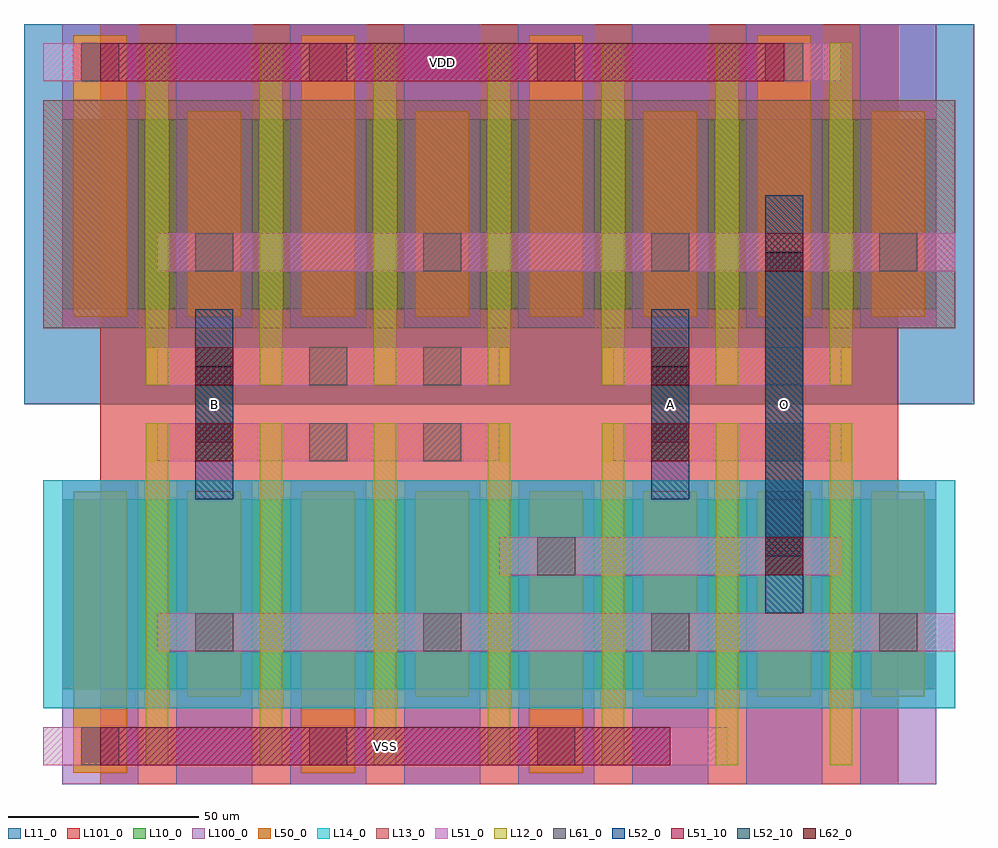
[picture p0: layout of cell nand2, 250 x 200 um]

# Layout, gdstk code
import gdstk
lib = gdstk.Library(unit=1e-6, precision=1e-09)
def R(c, l, rs):  # rectangles x0, y0, x1, y1
    for r in rs: c.add(gdstk.rectangle(r[:2], r[2:], *l))
def A(c, l, x, y, w, h, nx, ny, dx, dy):  # array of equal rectangles
    R(c, l, [(x+i*dx, y+j*dy, x+i*dx+w, y+j*dy+h) for i in range(nx) for j in range(ny)])
L10_0 = (10, 0)
L11_0 = (11, 0)
L12_0 = (12, 0)
L13_0 = (13, 0)
L14_0 = (14, 0)
L50_0 = (50, 0)
L51_0 = (51, 0)
L51_10 = (51, 10)
L52_0 = (52, 0)
L52_10 = (52, 10)
L61_0 = (61, 0)
L62_0 = (62, 0)
L100_0 = (100, 0)
L101_0 = (101, 0)

nand2_virtualinst_mn0 = lib.new_cell('nand2_VirtualInst_MN0')
A(nand2_virtualinst_mn0, L10_0, -10, 25, 50, 50, 4, 1, 30, 0)
A(nand2_virtualinst_mn0, L12_0, 12, 5, 6, 90, 4, 1, 30, 0)
A(nand2_virtualinst_mn0, L14_0, -15, 20, 60, 60, 4, 1, 30, 0)
A(nand2_virtualinst_mn0, L50_0, 12, 85, 36, 10, 3, 1, 30, 0)
R(nand2_virtualinst_mn0, L50_0, [(-7,23,7,77), (23,23,37,77), (23,23,37,77), (53,23,67,77), (53,23,67,77), (83,23,97,77), (83,23,97,77), (113,23,127,77)])
A(nand2_virtualinst_mn0, L100_0, -10, 0, 20, 80, 5, 1, 30, 0)
R(nand2_virtualinst_mn0, L100_0, [(12,85,108,95)])
A(nand2_virtualinst_mn0, L101_0, 0, 0, 30, 100, 4, 1, 30, 0)
nand2_virtualinst_mn0.add(gdstk.Label('S', (0,40), layer=100, texttype=0))
nand2_virtualinst_mn0.add(gdstk.Label('S', (60,40), layer=100, texttype=0))
nand2_virtualinst_mn0.add(gdstk.Label('S', (120,40), layer=100, texttype=0))
nand2_virtualinst_mn0.add(gdstk.Label('D', (30,40), layer=100, texttype=0))
nand2_virtualinst_mn0.add(gdstk.Label('D', (90,40), layer=100, texttype=0))
nand2_virtualinst_mn0.add(gdstk.Label('G', (60,90), layer=100, texttype=0))

nand2_virtualinst_mn1 = lib.new_cell('nand2_VirtualInst_MN1')
A(nand2_virtualinst_mn1, L10_0, -10, 25, 50, 50, 3, 1, 30, 0)
A(nand2_virtualinst_mn1, L12_0, 12, 5, 6, 90, 3, 1, 30, 0)
A(nand2_virtualinst_mn1, L14_0, -15, 20, 60, 60, 3, 1, 30, 0)
R(nand2_virtualinst_mn1, L50_0, [(-7,23,7,77), (23,23,37,77), (23,23,37,77), (53,23,67,77), (53,23,67,77), (83,23,97,77), (12,85,48,95), (42,85,78,95)])
A(nand2_virtualinst_mn1, L100_0, -10, 0, 20, 80, 4, 1, 30, 0)
R(nand2_virtualinst_mn1, L100_0, [(12,85,78,95)])
A(nand2_virtualinst_mn1, L101_0, 0, 0, 30, 100, 3, 1, 30, 0)
nand2_virtualinst_mn1.add(gdstk.Label('D', (0,40), layer=100, texttype=0))
nand2_virtualinst_mn1.add(gdstk.Label('D', (60,40), layer=100, texttype=0))
nand2_virtualinst_mn1.add(gdstk.Label('S', (30,40), layer=100, texttype=0))
nand2_virtualinst_mn1.add(gdstk.Label('S', (90,40), layer=100, texttype=0))
nand2_virtualinst_mn1.add(gdstk.Label('G', (45,90), layer=100, texttype=0))

nand2_virtualinst_mp0 = lib.new_cell('nand2_VirtualInst_MP0')
A(nand2_virtualinst_mp0, L10_0, -10, 25, 50, 50, 4, 1, 30, 0)
A(nand2_virtualinst_mp0, L11_0, -20, 0, 70, 100, 4, 1, 30, 0)
A(nand2_virtualinst_mp0, L12_0, 12, 5, 6, 90, 4, 1, 30, 0)
A(nand2_virtualinst_mp0, L13_0, -15, 20, 60, 60, 4, 1, 30, 0)
A(nand2_virtualinst_mp0, L50_0, 12, 85, 36, 10, 3, 1, 30, 0)
R(nand2_virtualinst_mp0, L50_0, [(-7,23,7,77), (23,23,37,77), (23,23,37,77), (53,23,67,77), (53,23,67,77), (83,23,97,77), (83,23,97,77), (113,23,127,77)])
A(nand2_virtualinst_mp0, L100_0, -10, 0, 20, 80, 5, 1, 30, 0)
R(nand2_virtualinst_mp0, L100_0, [(12,85,108,95)])
A(nand2_virtualinst_mp0, L101_0, 0, 0, 30, 100, 4, 1, 30, 0)
nand2_virtualinst_mp0.add(gdstk.Label('S', (0,40), layer=100, texttype=0))
nand2_virtualinst_mp0.add(gdstk.Label('S', (60,40), layer=100, texttype=0))
nand2_virtualinst_mp0.add(gdstk.Label('S', (120,40), layer=100, texttype=0))
nand2_virtualinst_mp0.add(gdstk.Label('D', (30,40), layer=100, texttype=0))
nand2_virtualinst_mp0.add(gdstk.Label('D', (90,40), layer=100, texttype=0))
nand2_virtualinst_mp0.add(gdstk.Label('G', (60,90), layer=100, texttype=0))

nand2_virtualinst_mp1 = lib.new_cell('nand2_VirtualInst_MP1')
A(nand2_virtualinst_mp1, L10_0, -10, 25, 50, 50, 3, 1, 30, 0)
A(nand2_virtualinst_mp1, L11_0, -20, 0, 70, 100, 3, 1, 30, 0)
A(nand2_virtualinst_mp1, L12_0, 12, 5, 6, 90, 3, 1, 30, 0)
A(nand2_virtualinst_mp1, L13_0, -15, 20, 60, 60, 3, 1, 30, 0)
R(nand2_virtualinst_mp1, L50_0, [(-7,23,7,77), (23,23,37,77), (23,23,37,77), (53,23,67,77), (53,23,67,77), (83,23,97,77), (12,85,48,95), (42,85,78,95)])
A(nand2_virtualinst_mp1, L100_0, -10, 0, 20, 80, 4, 1, 30, 0)
R(nand2_virtualinst_mp1, L100_0, [(12,85,78,95)])
A(nand2_virtualinst_mp1, L101_0, 0, 0, 30, 100, 3, 1, 30, 0)
nand2_virtualinst_mp1.add(gdstk.Label('S', (0,40), layer=100, texttype=0))
nand2_virtualinst_mp1.add(gdstk.Label('S', (60,40), layer=100, texttype=0))
nand2_virtualinst_mp1.add(gdstk.Label('D', (30,40), layer=100, texttype=0))
nand2_virtualinst_mp1.add(gdstk.Label('D', (90,40), layer=100, texttype=0))
nand2_virtualinst_mp1.add(gdstk.Label('G', (45,90), layer=100, texttype=0))

nand2_virtualinst_noname = lib.new_cell('nand2_VirtualInst_NoName_1')
R(nand2_virtualinst_noname, L61_0, [(-5,-5,5,5)])

c_nand2_virtualinst_noname = lib.new_cell('nand2_VirtualInst_NoName_2')
R(c_nand2_virtualinst_noname, L61_0, [(-5,-5,5,5)])

c_nand2_virtualinst_noname_ = lib.new_cell('nand2_VirtualInst_NoName_3')
R(c_nand2_virtualinst_noname_, L61_0, [(-5,-5,5,5)])

c_nand2_virtualinst_noname__ = lib.new_cell('nand2_VirtualInst_NoName_4')
R(c_nand2_virtualinst_noname__, L61_0, [(-5,-5,5,5)])

c_nand2_virtualinst_noname___ = lib.new_cell('nand2_VirtualInst_NoName_5')
R(c_nand2_virtualinst_noname___, L61_0, [(-5,-5,5,5)])

c_nand2_virtualinst_noname____ = lib.new_cell('nand2_VirtualInst_NoName_6')
R(c_nand2_virtualinst_noname____, L61_0, [(-5,-5,5,5)])

c_nand2_virtualinst_noname_____ = lib.new_cell('nand2_VirtualInst_NoName_7')
R(c_nand2_virtualinst_noname_____, L61_0, [(-5,-5,5,5)])

c_nand2_virtualinst_noname______ = lib.new_cell('nand2_VirtualInst_NoName_8')
R(c_nand2_virtualinst_noname______, L61_0, [(-5,-5,5,5)])

c_nand2_virtualinst_noname_______ = lib.new_cell('nand2_VirtualInst_NoName_10')
R(c_nand2_virtualinst_noname_______, L61_0, [(-5,-5,5,5)])

c_nand2_virtualinst_noname________ = lib.new_cell('nand2_VirtualInst_NoName_11')
R(c_nand2_virtualinst_noname________, L61_0, [(-5,-5,5,5)])

c_nand2_virtualinst_noname_________ = lib.new_cell('nand2_VirtualInst_NoName_12')
R(c_nand2_virtualinst_noname_________, L61_0, [(-5,-5,5,5)])

c_nand2_virtualinst_noname__________ = lib.new_cell('nand2_VirtualInst_NoName_13')
R(c_nand2_virtualinst_noname__________, L61_0, [(-5,-5,5,5)])

c_nand2_virtualinst_noname___________ = lib.new_cell('nand2_VirtualInst_NoName_14')
R(c_nand2_virtualinst_noname___________, L61_0, [(-5,-5,5,5)])

c_nand2_virtualinst_noname____________ = lib.new_cell('nand2_VirtualInst_NoName_15')
R(c_nand2_virtualinst_noname____________, L61_0, [(-5,-5,5,5)])

c_nand2_virtualinst_noname_____________ = lib.new_cell('nand2_VirtualInst_NoName_16')
R(c_nand2_virtualinst_noname_____________, L61_0, [(-5,-5,5,5)])

c_nand2_virtualinst_noname______________ = lib.new_cell('nand2_VirtualInst_NoName_17')
R(c_nand2_virtualinst_noname______________, L61_0, [(-5,-5,5,5)])

c_nand2_virtualinst_noname_______________ = lib.new_cell('nand2_VirtualInst_NoName_18')
R(c_nand2_virtualinst_noname_______________, L62_0, [(-5,-5,5,5)])

c_nand2_virtualinst_noname________________ = lib.new_cell('nand2_VirtualInst_NoName_20')
R(c_nand2_virtualinst_noname________________, L62_0, [(-5,-5,5,5)])

c_nand2_virtualinst_noname_________________ = lib.new_cell('nand2_VirtualInst_NoName_21')
R(c_nand2_virtualinst_noname_________________, L62_0, [(-5,-5,5,5)])

c_nand2_virtualinst_noname__________________ = lib.new_cell('nand2_VirtualInst_NoName_23')
R(c_nand2_virtualinst_noname__________________, L62_0, [(-5,-5,5,5)])

c_nand2_virtualinst_noname___________________ = lib.new_cell('nand2_VirtualInst_NoName_25')
R(c_nand2_virtualinst_noname___________________, L61_0, [(-5,-5,5,5)])

c_nand2_virtualinst_noname____________________ = lib.new_cell('nand2_VirtualInst_NoName_26')
R(c_nand2_virtualinst_noname____________________, L61_0, [(-5,-5,5,5)])

c_nand2_virtualinst_noname_____________________ = lib.new_cell('nand2_VirtualInst_NoName_27')
R(c_nand2_virtualinst_noname_____________________, L61_0, [(-5,-5,5,5)])

c_nand2_virtualinst_noname______________________ = lib.new_cell('nand2_VirtualInst_NoName_28')
R(c_nand2_virtualinst_noname______________________, L61_0, [(-5,-5,5,5)])

c_nand2_virtualinst_noname_______________________ = lib.new_cell('nand2_VirtualInst_NoName_29')
R(c_nand2_virtualinst_noname_______________________, L61_0, [(-5,-5,5,5)])

c_nand2_virtualinst_noname________________________ = lib.new_cell('nand2_VirtualInst_NoName_30')
R(c_nand2_virtualinst_noname________________________, L61_0, [(-5,-5,5,5)])

c_nand2_virtualinst_noname_________________________ = lib.new_cell('nand2_VirtualInst_NoName_31')
R(c_nand2_virtualinst_noname_________________________, L61_0, [(-5,-5,5,5)])

c_nand2_virtualinst_noname__________________________ = lib.new_cell('nand2_VirtualInst_NoName_32')
R(c_nand2_virtualinst_noname__________________________, L61_0, [(-5,-5,5,5)])

c_nand2_virtualinst_noname___________________________ = lib.new_cell('nand2_VirtualInst_NoName_33')
R(c_nand2_virtualinst_noname___________________________, L61_0, [(-5,-5,5,5)])

c_nand2_virtualinst_noname____________________________ = lib.new_cell('nand2_VirtualInst_NoName_34')
R(c_nand2_virtualinst_noname____________________________, L61_0, [(-5,-5,5,5)])

c_nand2_virtualinst_noname_____________________________ = lib.new_cell('nand2_VirtualInst_NoName_35')
R(c_nand2_virtualinst_noname_____________________________, L61_0, [(-5,-5,5,5)])

c_nand2_virtualinst_noname______________________________ = lib.new_cell('nand2_VirtualInst_NoName_36')
R(c_nand2_virtualinst_noname______________________________, L61_0, [(-5,-5,5,5)])

c_nand2_virtualinst_noname_______________________________ = lib.new_cell('nand2_VirtualInst_NoName_38')
R(c_nand2_virtualinst_noname_______________________________, L61_0, [(-5,-5,5,5)])

c_nand2_virtualinst_noname________________________________ = lib.new_cell('nand2_VirtualInst_NoName_39')
R(c_nand2_virtualinst_noname________________________________, L61_0, [(-5,-5,5,5)])

c_nand2_virtualinst_noname_________________________________ = lib.new_cell('nand2_VirtualInst_NoName_40')
R(c_nand2_virtualinst_noname_________________________________, L61_0, [(-5,-5,5,5)])

c_nand2_virtualinst_noname__________________________________ = lib.new_cell('nand2_VirtualInst_NoName_41')
R(c_nand2_virtualinst_noname__________________________________, L61_0, [(-5,-5,5,5)])

c_nand2_virtualinst_noname___________________________________ = lib.new_cell('nand2_VirtualInst_NoName_42')
R(c_nand2_virtualinst_noname___________________________________, L61_0, [(-5,-5,5,5)])

c_nand2_virtualinst_noname____________________________________ = lib.new_cell('nand2_VirtualInst_NoName_43')
R(c_nand2_virtualinst_noname____________________________________, L61_0, [(-5,-5,5,5)])

c_nand2_virtualinst_noname_____________________________________ = lib.new_cell('nand2_VirtualInst_NoName_44')
R(c_nand2_virtualinst_noname_____________________________________, L61_0, [(-5,-5,5,5)])

c_nand2_virtualinst_noname______________________________________ = lib.new_cell('nand2_VirtualInst_NoName_45')
R(c_nand2_virtualinst_noname______________________________________, L61_0, [(-5,-5,5,5)])

c_nand2_virtualinst_noname_______________________________________ = lib.new_cell('nand2_VirtualInst_NoName_46')
R(c_nand2_virtualinst_noname_______________________________________, L61_0, [(-5,-5,5,5)])

c_nand2_virtualinst_noname________________________________________ = lib.new_cell('nand2_VirtualInst_NoName_47')
R(c_nand2_virtualinst_noname________________________________________, L61_0, [(-5,-5,5,5)])

c_nand2_virtualinst_noname_________________________________________ = lib.new_cell('nand2_VirtualInst_NoName_48')
R(c_nand2_virtualinst_noname_________________________________________, L61_0, [(-5,-5,5,5)])

c_nand2_virtualinst_noname__________________________________________ = lib.new_cell('nand2_VirtualInst_NoName_49')
R(c_nand2_virtualinst_noname__________________________________________, L61_0, [(-5,-5,5,5)])

c_nand2_virtualinst_noname___________________________________________ = lib.new_cell('nand2_VirtualInst_NoName_50')
R(c_nand2_virtualinst_noname___________________________________________, L62_0, [(-5,-5,5,5)])

c_nand2_virtualinst_noname____________________________________________ = lib.new_cell('nand2_VirtualInst_NoName_52')
R(c_nand2_virtualinst_noname____________________________________________, L62_0, [(-5,-5,5,5)])

c_nand2_virtualinst_noname_____________________________________________ = lib.new_cell('nand2_VirtualInst_NoName_53')
R(c_nand2_virtualinst_noname_____________________________________________, L62_0, [(-5,-5,5,5)])

c_nand2_virtualinst_noname______________________________________________ = lib.new_cell('nand2_VirtualInst_NoName_55')
R(c_nand2_virtualinst_noname______________________________________________, L62_0, [(-5,-5,5,5)])

c_nand2_virtualinst_noname_______________________________________________ = lib.new_cell('nand2_VirtualInst_NoName_57')
R(c_nand2_virtualinst_noname_______________________________________________, L61_0, [(-5,-5,5,5)])

c_nand2_virtualinst_noname________________________________________________ = lib.new_cell('nand2_VirtualInst_NoName_58')
R(c_nand2_virtualinst_noname________________________________________________, L61_0, [(-5,-5,5,5)])

c_nand2_virtualinst_noname_________________________________________________ = lib.new_cell('nand2_VirtualInst_NoName_59')
R(c_nand2_virtualinst_noname_________________________________________________, L61_0, [(-5,-5,5,5)])

c_nand2_virtualinst_noname__________________________________________________ = lib.new_cell('nand2_VirtualInst_NoName_60')
R(c_nand2_virtualinst_noname__________________________________________________, L61_0, [(-5,-5,5,5)])

c_nand2_virtualinst_noname___________________________________________________ = lib.new_cell('nand2_VirtualInst_NoName_62')
R(c_nand2_virtualinst_noname___________________________________________________, L61_0, [(-5,-5,5,5)])

c_nand2_virtualinst_noname____________________________________________________ = lib.new_cell('nand2_VirtualInst_NoName_63')
R(c_nand2_virtualinst_noname____________________________________________________, L61_0, [(-5,-5,5,5)])

c_nand2_virtualinst_noname_____________________________________________________ = lib.new_cell('nand2_VirtualInst_NoName_65')
R(c_nand2_virtualinst_noname_____________________________________________________, L61_0, [(-5,-5,5,5)])

c_nand2_virtualinst_noname______________________________________________________ = lib.new_cell('nand2_VirtualInst_NoName_66')
R(c_nand2_virtualinst_noname______________________________________________________, L61_0, [(-5,-5,5,5)])

c_nand2_virtualinst_noname_______________________________________________________ = lib.new_cell('nand2_VirtualInst_NoName_67')
R(c_nand2_virtualinst_noname_______________________________________________________, L61_0, [(-5,-5,5,5)])

c_nand2_virtualinst_noname________________________________________________________ = lib.new_cell('nand2_VirtualInst_NoName_68')
R(c_nand2_virtualinst_noname________________________________________________________, L61_0, [(-5,-5,5,5)])

c_nand2_virtualinst_noname_________________________________________________________ = lib.new_cell('nand2_VirtualInst_NoName_69')
R(c_nand2_virtualinst_noname_________________________________________________________, L62_0, [(-5,-5,5,5)])

c_nand2_virtualinst_noname__________________________________________________________ = lib.new_cell('nand2_VirtualInst_NoName_71')
R(c_nand2_virtualinst_noname__________________________________________________________, L62_0, [(-5,-5,5,5)])

c_nand2_virtualinst_noname___________________________________________________________ = lib.new_cell('nand2_VirtualInst_NoName_72')
R(c_nand2_virtualinst_noname___________________________________________________________, L62_0, [(-5,-5,5,5)])

c_nand2_virtualinst_noname____________________________________________________________ = lib.new_cell('nand2_VirtualInst_NoName_74')
R(c_nand2_virtualinst_noname____________________________________________________________, L62_0, [(-5,-5,5,5)])

c_nand2_virtualinst_noname_____________________________________________________________ = lib.new_cell('nand2_VirtualInst_NoName_76')
R(c_nand2_virtualinst_noname_____________________________________________________________, L50_0, [(-7,-7,7,13)])
R(c_nand2_virtualinst_noname_____________________________________________________________, L61_0, [(-5,-5,5,5)])

c_nand2_virtualinst_noname______________________________________________________________ = lib.new_cell('nand2_VirtualInst_NoName_77')
R(c_nand2_virtualinst_noname______________________________________________________________, L50_0, [(-7,-7,7,13)])
R(c_nand2_virtualinst_noname______________________________________________________________, L61_0, [(-5,-5,5,5)])

c_nand2_virtualinst_noname_______________________________________________________________ = lib.new_cell('nand2_VirtualInst_NoName_78')
R(c_nand2_virtualinst_noname_______________________________________________________________, L50_0, [(-7,-7,7,13)])
R(c_nand2_virtualinst_noname_______________________________________________________________, L61_0, [(-5,-5,5,5)])

c_nand2_virtualinst_noname________________________________________________________________ = lib.new_cell('nand2_VirtualInst_NoName_80')
R(c_nand2_virtualinst_noname________________________________________________________________, L50_0, [(-7,-13,7,7)])
R(c_nand2_virtualinst_noname________________________________________________________________, L61_0, [(-5,-5,5,5)])

c_nand2_virtualinst_noname_________________________________________________________________ = lib.new_cell('nand2_VirtualInst_NoName_81')
R(c_nand2_virtualinst_noname_________________________________________________________________, L50_0, [(-7,-13,7,7)])
R(c_nand2_virtualinst_noname_________________________________________________________________, L61_0, [(-5,-5,5,5)])

c_nand2_virtualinst_noname__________________________________________________________________ = lib.new_cell('nand2_VirtualInst_NoName_82')
R(c_nand2_virtualinst_noname__________________________________________________________________, L50_0, [(-7,-13,7,7)])
R(c_nand2_virtualinst_noname__________________________________________________________________, L61_0, [(-5,-5,5,5)])

c_nand2_virtualinst_noname___________________________________________________________________ = lib.new_cell('nand2_VirtualInst_NoName_83')
R(c_nand2_virtualinst_noname___________________________________________________________________, L50_0, [(-7,-13,7,7)])
R(c_nand2_virtualinst_noname___________________________________________________________________, L61_0, [(-5,-5,5,5)])

c_nand2_virtualinst_noname____________________________________________________________________ = lib.new_cell('nand2_VirtualInst_NoName_84')
R(c_nand2_virtualinst_noname____________________________________________________________________, L50_0, [(-7,-13,7,7)])
R(c_nand2_virtualinst_noname____________________________________________________________________, L61_0, [(-5,-5,5,5)])

nand2 = lib.new_cell('nand2')
R(nand2, L51_0, [(-15,5,165,15), (15,35,225,45), (105,55,195,65), (15,85,105,95), (135,85,195,95), (15,105,105,115), (135,105,195,115), (15,135,225,145), (-15,185,195,195)])
R(nand2, L51_10, [(0,5,150,15), (0,185,180,195)])
R(nand2, L52_0, [(175,45,185,155), (175,45,185,155), (25,75,35,125), (25,75,35,125), (145,75,155,125), (145,75,155,125)])
R(nand2, L52_10, [(175,60,185,140), (25,90,35,110), (145,90,155,110)])
nand2.add(gdstk.Reference(nand2_virtualinst_mn0, (0,0)))
nand2.add(gdstk.Reference(nand2_virtualinst_mn1, (120,0)))
nand2.add(gdstk.Reference(nand2_virtualinst_mp0, (0,200), x_reflection=True))
nand2.add(gdstk.Reference(nand2_virtualinst_mp1, (120,200), x_reflection=True))
nand2.add(gdstk.Reference(nand2_virtualinst_noname, (150,90)))
nand2.add(gdstk.Reference(c_nand2_virtualinst_noname, (180,90)))
nand2.add(gdstk.Reference(c_nand2_virtualinst_noname_, (150,90)))
nand2.add(gdstk.Reference(c_nand2_virtualinst_noname__, (180,90)))
nand2.add(gdstk.Reference(c_nand2_virtualinst_noname___, (150,90)))
nand2.add(gdstk.Reference(c_nand2_virtualinst_noname____, (180,90)))
nand2.add(gdstk.Reference(c_nand2_virtualinst_noname_____, (150,90)))
nand2.add(gdstk.Reference(c_nand2_virtualinst_noname______, (180,90)))
nand2.add(gdstk.Reference(c_nand2_virtualinst_noname_______, (150,110)))
nand2.add(gdstk.Reference(c_nand2_virtualinst_noname________, (180,110)))
nand2.add(gdstk.Reference(c_nand2_virtualinst_noname_________, (150,110)))
nand2.add(gdstk.Reference(c_nand2_virtualinst_noname__________, (180,110)))
nand2.add(gdstk.Reference(c_nand2_virtualinst_noname___________, (150,110)))
nand2.add(gdstk.Reference(c_nand2_virtualinst_noname____________, (180,110)))
nand2.add(gdstk.Reference(c_nand2_virtualinst_noname_____________, (150,110)))
nand2.add(gdstk.Reference(c_nand2_virtualinst_noname______________, (180,110)))
nand2.add(gdstk.Reference(c_nand2_virtualinst_noname_______________, (150,90)))
nand2.add(gdstk.Reference(c_nand2_virtualinst_noname________________, (150,110)))
nand2.add(gdstk.Reference(c_nand2_virtualinst_noname_________________, (150,90)))
nand2.add(gdstk.Reference(c_nand2_virtualinst_noname__________________, (150,110)))
nand2.add(gdstk.Reference(c_nand2_virtualinst_noname___________________, (30,90)))
nand2.add(gdstk.Reference(c_nand2_virtualinst_noname____________________, (60,90)))
nand2.add(gdstk.Reference(c_nand2_virtualinst_noname_____________________, (90,90)))
nand2.add(gdstk.Reference(c_nand2_virtualinst_noname______________________, (30,90)))
nand2.add(gdstk.Reference(c_nand2_virtualinst_noname_______________________, (60,90)))
nand2.add(gdstk.Reference(c_nand2_virtualinst_noname________________________, (90,90)))
nand2.add(gdstk.Reference(c_nand2_virtualinst_noname_________________________, (30,90)))
nand2.add(gdstk.Reference(c_nand2_virtualinst_noname__________________________, (60,90)))
nand2.add(gdstk.Reference(c_nand2_virtualinst_noname___________________________, (90,90)))
nand2.add(gdstk.Reference(c_nand2_virtualinst_noname____________________________, (30,90)))
nand2.add(gdstk.Reference(c_nand2_virtualinst_noname_____________________________, (60,90)))
nand2.add(gdstk.Reference(c_nand2_virtualinst_noname______________________________, (90,90)))
nand2.add(gdstk.Reference(c_nand2_virtualinst_noname_______________________________, (30,110)))
nand2.add(gdstk.Reference(c_nand2_virtualinst_noname________________________________, (60,110)))
nand2.add(gdstk.Reference(c_nand2_virtualinst_noname_________________________________, (90,110)))
nand2.add(gdstk.Reference(c_nand2_virtualinst_noname__________________________________, (30,110)))
nand2.add(gdstk.Reference(c_nand2_virtualinst_noname___________________________________, (60,110)))
nand2.add(gdstk.Reference(c_nand2_virtualinst_noname____________________________________, (90,110)))
nand2.add(gdstk.Reference(c_nand2_virtualinst_noname_____________________________________, (30,110)))
nand2.add(gdstk.Reference(c_nand2_virtualinst_noname______________________________________, (60,110)))
nand2.add(gdstk.Reference(c_nand2_virtualinst_noname_______________________________________, (90,110)))
nand2.add(gdstk.Reference(c_nand2_virtualinst_noname________________________________________, (30,110)))
nand2.add(gdstk.Reference(c_nand2_virtualinst_noname_________________________________________, (60,110)))
nand2.add(gdstk.Reference(c_nand2_virtualinst_noname__________________________________________, (90,110)))
nand2.add(gdstk.Reference(c_nand2_virtualinst_noname___________________________________________, (30,90)))
nand2.add(gdstk.Reference(c_nand2_virtualinst_noname____________________________________________, (30,110)))
nand2.add(gdstk.Reference(c_nand2_virtualinst_noname_____________________________________________, (30,90)))
nand2.add(gdstk.Reference(c_nand2_virtualinst_noname______________________________________________, (30,110)))
nand2.add(gdstk.Reference(c_nand2_virtualinst_noname_______________________________________________, (30,40)))
nand2.add(gdstk.Reference(c_nand2_virtualinst_noname________________________________________________, (90,40)))
nand2.add(gdstk.Reference(c_nand2_virtualinst_noname_________________________________________________, (150,40)))
nand2.add(gdstk.Reference(c_nand2_virtualinst_noname__________________________________________________, (210,40)))
nand2.add(gdstk.Reference(c_nand2_virtualinst_noname___________________________________________________, (120,60)))
nand2.add(gdstk.Reference(c_nand2_virtualinst_noname____________________________________________________, (180,60)))
nand2.add(gdstk.Reference(c_nand2_virtualinst_noname_____________________________________________________, (30,140)))
nand2.add(gdstk.Reference(c_nand2_virtualinst_noname______________________________________________________, (90,140)))
nand2.add(gdstk.Reference(c_nand2_virtualinst_noname_______________________________________________________, (150,140)))
nand2.add(gdstk.Reference(c_nand2_virtualinst_noname________________________________________________________, (210,140)))
nand2.add(gdstk.Reference(c_nand2_virtualinst_noname_________________________________________________________, (180,60)))
nand2.add(gdstk.Reference(c_nand2_virtualinst_noname__________________________________________________________, (180,140)))
nand2.add(gdstk.Reference(c_nand2_virtualinst_noname___________________________________________________________, (180,60)))
nand2.add(gdstk.Reference(c_nand2_virtualinst_noname____________________________________________________________, (180,140)))
nand2.add(gdstk.Reference(c_nand2_virtualinst_noname_____________________________________________________________, (0,10)))
nand2.add(gdstk.Reference(c_nand2_virtualinst_noname______________________________________________________________, (60,10)))
nand2.add(gdstk.Reference(c_nand2_virtualinst_noname_______________________________________________________________, (120,10)))
nand2.add(gdstk.Reference(c_nand2_virtualinst_noname________________________________________________________________, (0,190)))
nand2.add(gdstk.Reference(c_nand2_virtualinst_noname_________________________________________________________________, (60,190)))
nand2.add(gdstk.Reference(c_nand2_virtualinst_noname__________________________________________________________________, (120,190)))
nand2.add(gdstk.Reference(c_nand2_virtualinst_noname___________________________________________________________________, (120,190)))
nand2.add(gdstk.Reference(c_nand2_virtualinst_noname____________________________________________________________________, (180,190)))
nand2.add(gdstk.Label('A', (150,100), layer=52, texttype=10))
nand2.add(gdstk.Label('B', (30,100), layer=52, texttype=10))
nand2.add(gdstk.Label('O', (180,100), layer=52, texttype=10))
nand2.add(gdstk.Label('VSS', (75,10), layer=51, texttype=10))
nand2.add(gdstk.Label('VDD', (90,190), layer=51, texttype=10))

lib.write_gds('nand2.gds')
